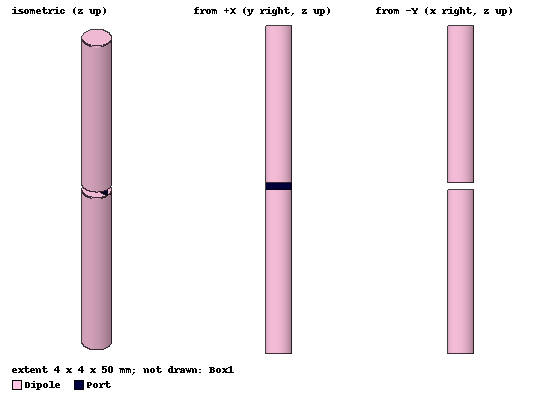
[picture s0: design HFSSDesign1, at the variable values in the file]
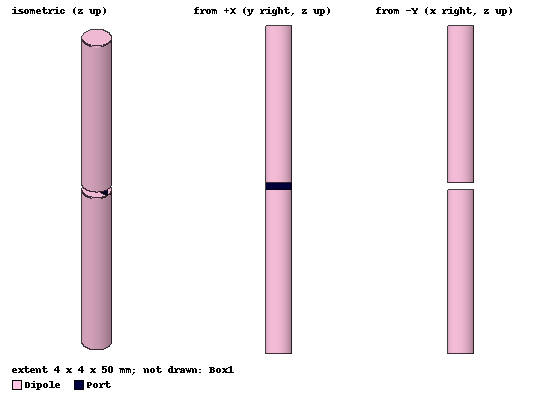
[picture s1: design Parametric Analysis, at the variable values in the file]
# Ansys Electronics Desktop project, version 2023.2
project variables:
  $dl = 50mm
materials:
  vacuum: permittivity=1
  copper: permeability=0.999991 conductivity=58000000

design HFSSDesign1 (HFSS, HFSS Modal Network, model units mm)
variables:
  dr = 2mm
  dl = 50mm
  dg = dl
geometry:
  Dipole [copper] = cylinder(axis=Z, base_centre=(0mm, 0mm, -$dl/2), radius=dr, height=$dl)
  Gap = cylinder(axis=Z, base_centre=(0mm, 0mm, 0), radius=dr, height=1mm)
  Port = Gap.section(plane=YZ)
  Dipole.subtract(Gap)
  Box1 [vacuum] = box(corner=(-50mm, -50mm, -80mm), size=(100mm, 100mm, 160mm))
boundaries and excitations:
  Rad1: Radiation Objects=Box1
  1: Lumped Port Objects=Port LumpedPortType=Modal Modes{Mode1{IntLine{(0, 0, 0) -> (0, 0, 1)} CharImp=Zpi}} Impedance=50ohm
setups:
  Setup2: HfssDriven Frequency=2.5GHz MaxDeltaS=0.02 MaximumPasses=10 MinimumPasses=1 MinimumConvergedPasses=1 PercentRefinement=30 BasisOrder=1 PortAccuracy=2 DrivenSolverType="Direct Solver"
    sweep Sweep: 1.5GHz to 3GHz, 401 points; Type=Fast SaveFields
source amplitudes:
  1:1: 1V 0deg
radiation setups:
  Infinite Sphere1: Infinite Sphere Theta=0deg..360deg step 2deg Phi=-180deg..180deg step 2deg
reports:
  S Parameter Plot 1: dB(S(1,1)) vs Freq on Setup2 : Sweep [$dl=all]
  Gain Plot 1: dB(GainTotal) vs Theta on Setup2 : LastAdaptive, Infinite Sphere1 [Phi=all Freq=2.5GHz]
  Gain Plot 2: dB(GainTotal) vs Phi, Theta on Setup2 : LastAdaptive, Infinite Sphere1 [Freq=2.5GHz]
  S Parameter Plot 2: dB(S(1,1)) vs Freq on Setup2 : Sweep
  Gain Plot 3: dB(GainTotal) vs Theta on Setup2 : LastAdaptive, Infinite Sphere1 [Phi=all Freq=2.5GHz]
  Gain Plot 4: dB(GainTotal) vs Phi, Theta on Setup2 : LastAdaptive, Infinite Sphere1 [Freq=2.5GHz]

design Parametric Analysis (HFSS, HFSS Modal Network, model units mm)
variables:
  dr = 2mm
  dl = 50mm
  dg = dl
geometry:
  Dipole [copper] = cylinder(axis=Z, base_centre=(0mm, 0mm, -$dl/2), radius=dr, height=$dl)
  Gap = cylinder(axis=Z, base_centre=(0mm, 0mm, 0), radius=dr, height=1mm)
  Port = Gap.section(plane=YZ)
  Dipole.subtract(Gap)
  Box1 [vacuum] = box(corner=(-50mm, -50mm, -80mm), size=(100mm, 100mm, 160mm))
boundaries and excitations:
  Rad1: Radiation Objects=Box1
  1: Lumped Port Objects=Port LumpedPortType=Modal Modes{Mode1{IntLine{(0, 0, 0) -> (0, 0, 1)} CharImp=Zpi}} Impedance=50ohm
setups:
  Setup2: HfssDriven Frequency=2.5GHz MaxDeltaS=0.02 MaximumPasses=10 MinimumPasses=1 MinimumConvergedPasses=1 PercentRefinement=30 BasisOrder=1 PortAccuracy=2 DrivenSolverType="Direct Solver"
    sweep Sweep: 1.5GHz to 3GHz, 401 points; Type=Fast SaveFields
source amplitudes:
  1:1: 1V 0deg
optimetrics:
  ParametricSetup1: Parametric Sim._Setups=[Setup2]
    sweep $dl: LIN 46mm 52mm 2mm
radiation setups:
  Infinite Sphere1: Infinite Sphere Theta=0deg..360deg step 2deg Phi=-180deg..180deg step 2deg
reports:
  S Parameter Plot 1: dB(S(1,1)) vs Freq on Setup2 : Sweep [$dl=all]
  Gain Plot 1: dB(GainTotal) vs Theta on Setup2 : LastAdaptive, Infinite Sphere1 [Phi=all Freq=2.5GHz $dl=all]
